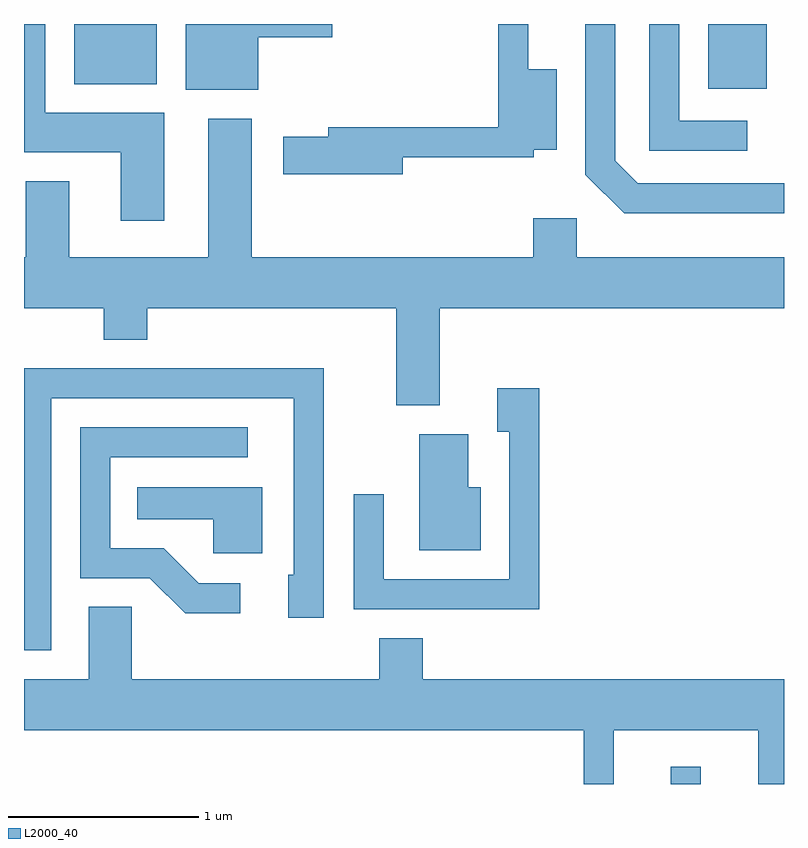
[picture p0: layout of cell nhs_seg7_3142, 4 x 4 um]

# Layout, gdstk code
import gdstk
lib = gdstk.Library(unit=1e-6, precision=1e-09)
def R(c, l, rs):  # rectangles x0, y0, x1, y1
    for r in rs: c.add(gdstk.rectangle(r[:2], r[2:], *l))
def P(c, l, *ps):  # polygons
    for p in ps: c.add(gdstk.Polygon(p, *l))
L2000_40 = (2000, 40)

nhs_seg7_3142 = lib.new_cell('nhs_seg7_3142')
R(nhs_seg7_3142, L2000_40, [(285.016,1716.252,285.174,1716.343), (285.211,1719.911,285.519,1720.252), (281.876,1719.936,282.309,1720.252)])
P(nhs_seg7_3142, L2000_40, [(285.418,1719.744),(285.059,1719.744),(285.059,1720.252),(284.901,1720.252),(284.901,1719.586),(285.418,1719.586)],
  [(283.604,1719.551),(284.294,1719.551),(284.294,1719.591),(284.414,1719.591),(284.414,1720.014),(284.264,1720.014),(284.264,1720.252),(284.106,1720.252),(284.106,1719.709),(283.211,1719.709),(283.211,1719.659),(282.976,1719.659),(282.976,1719.461),(283.604,1719.461)],
  [(285.611,1719.414),(284.842,1719.414),(284.724,1719.532),(284.724,1720.252),(284.566,1720.252),(284.566,1719.459),(284.769,1719.256),(285.611,1719.256)],
  [(282.844,1720.181),(283.234,1720.181),(283.234,1720.252),(282.461,1720.252),(282.461,1719.906),(282.844,1719.906)],
  [(282.349,1719.784),(281.724,1719.784),(281.724,1720.252),(281.611,1720.252),(281.611,1719.576),(282.121,1719.576),(282.121,1719.216),(282.349,1719.216)],
  [(283.799,1718.756),(285.611,1718.756),(285.611,1719.024),(284.519,1719.024),(284.519,1719.229),(284.291,1719.229),(284.291,1719.024),(282.809,1719.024),(282.809,1719.754),(282.581,1719.754),(282.581,1719.024),(281.849,1719.024),(281.849,1719.424),(281.621,1719.424),(281.621,1719.024),(281.611,1719.024),(281.611,1718.756),(282.031,1718.756),(282.031,1718.591),(282.259,1718.591),(282.259,1718.756),(283.571,1718.756),(283.571,1718.246),(283.799,1718.246)],
  [(281.754,1718.281),(283.031,1718.281),(283.031,1717.354),(283.001,1717.354),(283.001,1717.126),(283.189,1717.126),(283.189,1718.439),(281.611,1718.439),(281.611,1716.956),(281.754,1716.956)],
  [(284.324,1718.334),(284.101,1718.334),(284.101,1718.106),(284.166,1718.106),(284.166,1717.329),(283.504,1717.329),(283.504,1717.778),(283.346,1717.778),(283.346,1717.171),(284.324,1717.171)],
  [(282.748,1717.309),(282.532,1717.309),(282.347,1717.494),(282.064,1717.494),(282.064,1717.971),(282.788,1717.971),(282.788,1718.129),(281.906,1718.129),(281.906,1717.336),(282.274,1717.336),(282.459,1717.151),(282.748,1717.151)],
  [(284.014,1717.814),(283.949,1717.814),(283.949,1718.094),(283.691,1718.094),(283.691,1717.481),(284.014,1717.481)],
  [(282.864,1717.814),(282.208,1717.814),(282.208,1717.646),(282.606,1717.646),(282.606,1717.466),(282.864,1717.466)],
  [(284.714,1716.536),(285.476,1716.536),(285.476,1716.252),(285.611,1716.252),(285.611,1716.804),(283.709,1716.804),(283.709,1717.019),(283.481,1717.019),(283.481,1716.804),(282.179,1716.804),(282.179,1717.184),(281.951,1717.184),(281.951,1716.804),(281.611,1716.804),(281.611,1716.536),(284.556,1716.536),(284.556,1716.252),(284.714,1716.252)])

lib.write_gds('nhs_seg7_3142.gds')
